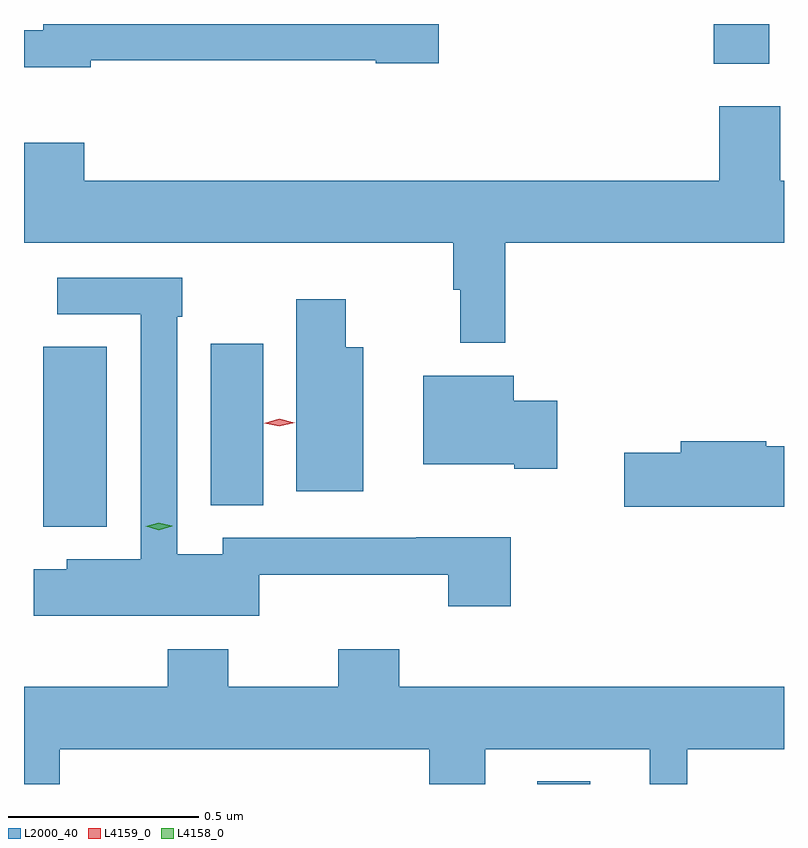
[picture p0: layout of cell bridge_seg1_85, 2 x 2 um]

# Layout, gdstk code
import gdstk
lib = gdstk.Library(unit=1e-6, precision=1e-09)
def R(c, l, rs):  # rectangles x0, y0, x1, y1
    for r in rs: c.add(gdstk.rectangle(r[:2], r[2:], *l))
def P(c, l, *ps):  # polygons
    for p in ps: c.add(gdstk.Polygon(p, *l))
L2000_40 = (2000, 40)
L4158_0 = (4158, 0)
L4159_0 = (4159, 0)

bridge_seg1_85 = lib.new_cell('bridge_seg1_85')
R(bridge_seg1_85, L2000_40, [(545.171,523.668,545.311,523.675), (543.872,524.345,544.039,524.819), (544.313,524.401,544.45,524.827), (545.636,525.564,545.782,525.668)])
P(bridge_seg1_85, L2000_40, [(543.997,525.573),(544.746,525.573),(544.746,525.565),(544.913,525.565),(544.913,525.668),(543.872,525.668),(543.872,525.651),(543.821,525.651),(543.821,525.554),(543.997,525.554)],
  [(545.087,525.092),(545.821,525.092),(545.821,525.256),(545.811,525.256),(545.811,525.451),(545.651,525.451),(545.651,525.256),(543.98,525.256),(543.98,525.355),(543.821,525.355),(543.821,525.092),(544.951,525.092),(544.951,524.969),(544.969,524.969),(544.969,524.829),(545.087,524.829)],
  [(544.44,524.219),(544.937,524.219),(544.937,524.136),(545.102,524.136),(545.102,524.318),(544.853,524.318),(544.853,524.316),(544.344,524.316),(544.344,524.272),(544.224,524.272),(544.224,524.897),(544.237,524.897),(544.237,525),(543.909,525),(543.909,524.904),(544.128,524.904),(544.128,524.26),(543.933,524.26),(543.933,524.233),(543.846,524.233),(543.846,524.111),(544.44,524.111)],
  [(544.714,524.818),(544.668,524.818),(544.668,524.944),(544.538,524.944),(544.538,524.438),(544.714,524.438)],
  [(545.224,524.676),(545.11,524.676),(545.11,524.743),(544.871,524.743),(544.871,524.51),(545.111,524.51),(545.111,524.498),(545.224,524.498)],
  [(545.821,524.557),(545.774,524.557),(545.774,524.57),(545.549,524.57),(545.549,524.54),(545.4,524.54),(545.4,524.398),(545.821,524.398)],
  [(544.808,524.023),(544.648,524.023),(544.648,523.924),(544.359,523.924),(544.359,524.023),(544.199,524.023),(544.199,523.924),(543.821,523.924),(543.821,523.668),(543.915,523.668),(543.915,523.76),(544.888,523.76),(544.888,523.668),(545.035,523.668),(545.035,523.76),(545.468,523.76),(545.468,523.668),(545.567,523.668),(545.567,523.76),(545.821,523.76),(545.821,523.924),(544.808,523.924)])
P(bridge_seg1_85, L4158_0, [(544.176,524.336),(544.142,524.346),(544.141,524.346),(544.142,524.346),(544.176,524.356),(544.211,524.347),(544.211,524.347),(544.211,524.346)])
P(bridge_seg1_85, L4159_0, [(544.493,524.609),(544.453,524.618),(544.453,524.618),(544.453,524.618),(544.493,524.629),(544.534,524.619),(544.534,524.619),(544.534,524.619)])

lib.write_gds('bridge_seg1_85.gds')
